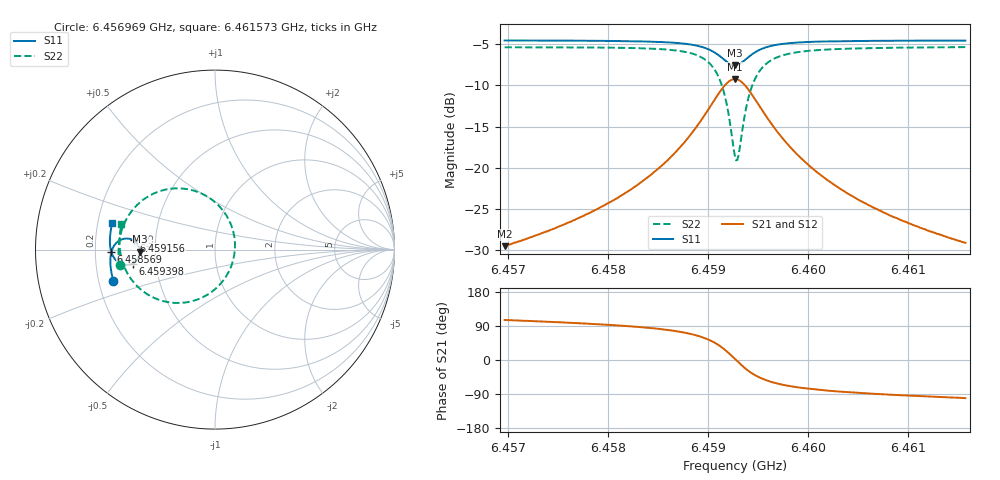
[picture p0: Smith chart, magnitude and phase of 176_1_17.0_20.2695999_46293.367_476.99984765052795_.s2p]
#  HZ  S  RI  R  50.00
! Rohde & Schwarz Vector Network Analyzer
! Rohde-Schwarz,ZNB20-2Port,1311601062101988,3.16
! Created: UTC 3/20/2024, 10:59:57 PM
! freq[Hz]  re:S11  im:S11  re:S21  im:S21  re:S12  im:S12  re:S22  im:S22
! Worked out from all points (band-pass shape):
!   401 points, 6.456969 GHz to 6.461573 GHz, reference 50 ohm
!   highest |S21| = -9.24 dB at 6.459271 GHz (marker M1); lowest = -29.5 dB at 6.456969 GHz (marker M2)
!   |S21| within 3 dB of the highest: 6.45904 GHz to 6.459501 GHz (460.3 kHz wide, 0.00713 % of centre)
!   lowest |S11| = -7.6 dB at 6.459271 GHz (marker M3), VSWR 2.44, Z = 20.5 - j0.598 ohm
!   |S11| at or under -10 dB: nowhere
!   |S22| runs from -19.1 to -5.4 dB; largest |S21 - S12| = 0.013
!   S11 on the Smith chart (normalised r, x): 6.456969 GHz: 0.26, -0.14; 6.458569 GHz: 0.27, -0.01; 6.459156 GHz: 0.37, +0.05; 6.459398 GHz: 0.37, -0.07; 6.461573 GHz: 0.26, +0.12
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6.4569691e9  -0.566 -0.1742  -0.00905 0.0323  -0.00733 0.0323  -0.5312 -0.0874
6.4577402e9  -0.5802 -0.1067  -0.00586 0.0504  -0.0033 0.0498  -0.5371 0.00264
6.458166e9  -0.5833 -0.0641  8.88e-06 0.0699  0.00331 0.0685  -0.5294 0.07
6.4585113e9  -0.5796 -0.0228  0.0138 0.0989  0.0178 0.0962  -0.5043 0.1479
6.4585689e9  -0.5777 -0.0149  0.0181 0.1057  0.0222 0.1027  -0.4964 0.1645
6.458776e9  -0.5649 0.0173  0.0456 0.1381  0.0497 0.1334  -0.445 0.2373
6.4589256e9  -0.5421 0.0437  0.0907 0.1688  0.0939 0.1623  -0.3619 0.3021
6.4590638e9  -0.4983 0.0615  0.178 0.1856  0.1789 0.1782  -0.2028 0.3412
6.4591558e9  -0.4537 0.0511  0.2681 0.1545  0.2683 0.1488  -0.0363 0.2913
6.4592249e9  -0.4244 0.0191  0.3286 0.0827  0.3308 0.0775  0.0792 0.162
6.4592709e9  -0.4176 -0.012  0.345 0.0149  0.3487 0.00799  0.1114 0.0355
6.4593055e9  -0.4215 -0.0357  0.3393 -0.0375  0.3431 -0.0466  0.1 -0.0638
6.4593515e9  -0.4372 -0.0617  0.3108 -0.0974  0.3131 -0.109  0.0426 -0.1765
6.4593975e9  -0.4593 -0.0781  0.269 -0.1384  0.268 -0.1516  -0.0422 -0.2513
6.4594436e9  -0.4821 -0.085  0.2245 -0.1608  0.2208 -0.1737  -0.1308 -0.2881
6.4595011e9  -0.5072 -0.0842  0.1752 -0.1703  0.1688 -0.1813  -0.228 -0.2968
6.4596507e9  -0.5486 -0.0625  0.092 -0.154  0.0838 -0.1598  -0.3855 -0.2433
6.4598119e9  -0.569 -0.035  0.0497 -0.1263  0.0423 -0.1291  -0.4613 -0.1724
6.460042e9  -0.5809 -0.00132  0.0226 -0.0969  0.0169 -0.0976  -0.5057 -0.095
6.4603758e9  -0.5855 0.0384  0.00678 -0.071  0.00278 -0.0705  -0.527 -0.0185
6.4608131e9  -0.5838 0.0823  -0.00125 -0.0518  -0.00406 -0.051  -0.532 0.052
6.4615728e9  -0.5719 0.1497  -0.00649 -0.0345  -0.00809 -0.0336  -0.521 0.1415
